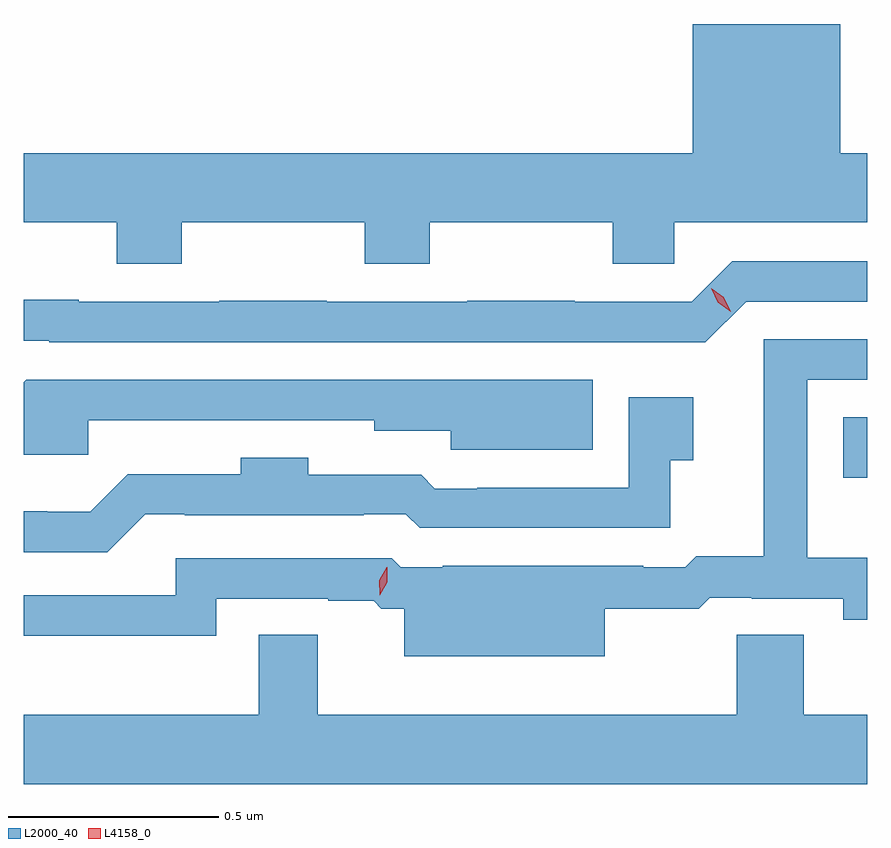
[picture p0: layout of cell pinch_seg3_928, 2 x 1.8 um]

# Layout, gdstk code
import gdstk
lib = gdstk.Library(unit=1e-6, precision=1e-09)
def R(c, l, rs):  # rectangles x0, y0, x1, y1
    for r in rs: c.add(gdstk.rectangle(r[:2], r[2:], *l))
def P(c, l, *ps):  # polygons
    for p in ps: c.add(gdstk.Polygon(p, *l))
L2000_40 = (2000, 40)
L4158_0 = (4158, 0)

pinch_seg3_928 = lib.new_cell('pinch_seg3_928')
R(pinch_seg3_928, L2000_40, [(774.443,669.674,774.5,669.817)])
P(pinch_seg3_928, L2000_40, [(772.875,670.28),(773.308,670.28),(773.308,670.181),(773.463,670.181),(773.463,670.28),(773.896,670.28),(773.896,670.182),(774.042,670.182),(774.042,670.28),(774.5,670.28),(774.5,670.444),(774.436,670.444),(774.436,670.75),(774.086,670.75),(774.086,670.444),(772.5,670.444),(772.5,670.28),(772.72,670.28),(772.72,670.181),(772.875,670.181)],
  [(774.213,670.092),(774.5,670.092),(774.5,670.188),(774.18,670.188),(774.084,670.092),(773.807,670.092),(773.807,670.094),(773.551,670.094),(773.551,670.092),(773.219,670.092),(773.219,670.094),(772.963,670.094),(772.963,670.092),(772.631,670.092),(772.631,670.096),(772.5,670.096),(772.5,669.999),(772.561,669.999),(772.561,669.996),(774.02,669.996),(774.02,669.995),(774.116,669.995)],
  [(773.878,669.364),(774.1,669.364),(774.126,669.39),(774.226,669.39),(774.226,669.387),(774.443,669.387),(774.443,669.337),(774.5,669.337),(774.5,669.485),(774.358,669.485),(774.358,669.906),(774.5,669.906),(774.5,670.002),(774.254,670.002),(774.254,669.488),(774.095,669.488),(774.069,669.462),(773.969,669.462),(773.969,669.466),(773.494,669.466),(773.494,669.462),(773.394,669.462),(773.373,669.483),(772.86,669.483),(772.86,669.396),(772.5,669.396),(772.5,669.299),(772.956,669.299),(772.956,669.387),(773.222,669.387),(773.222,669.383),(773.33,669.383),(773.348,669.364),(773.402,669.364),(773.402,669.251),(773.878,669.251)],
  [(772.653,669.81),(773.331,669.81),(773.331,669.785),(773.513,669.785),(773.513,669.74),(773.849,669.74),(773.849,669.907),(773.517,669.907),(773.517,669.906),(772.506,669.906),(772.5,669.9),(772.5,669.729),(772.653,669.729)],
  [(772.788,669.588),(772.882,669.588),(772.882,669.585),(773.306,669.585),(773.306,669.588),(773.406,669.588),(773.439,669.555),(774.033,669.555),(774.033,669.716),(774.088,669.716),(774.088,669.865),(773.934,669.865),(773.934,669.651),(773.575,669.651),(773.575,669.648),(773.475,669.648),(773.442,669.681),(773.174,669.681),(773.174,669.721),(773.014,669.721),(773.014,669.682),(772.747,669.682),(772.658,669.593),(772.556,669.593),(772.556,669.595),(772.5,669.595),(772.5,669.498),(772.698,669.498)],
  [(774.5,669.112),(774.35,669.112),(774.35,669.302),(774.19,669.302),(774.19,669.112),(773.197,669.112),(773.197,669.302),(773.057,669.302),(773.057,669.112),(772.5,669.112),(772.5,668.948),(774.5,668.948)])
P(pinch_seg3_928, L4158_0, [(773.344,669.395),(773.344,669.395),(773.343,669.431),(773.361,669.462),(773.362,669.462),(773.362,669.462),(773.362,669.426),(773.344,669.395)],
  [(774.176,670.068),(774.145,670.09),(774.13,670.123),(774.13,670.124),(774.13,670.124),(774.16,670.102),(774.176,670.068),(774.176,670.068)])

lib.write_gds('pinch_seg3_928.gds')
